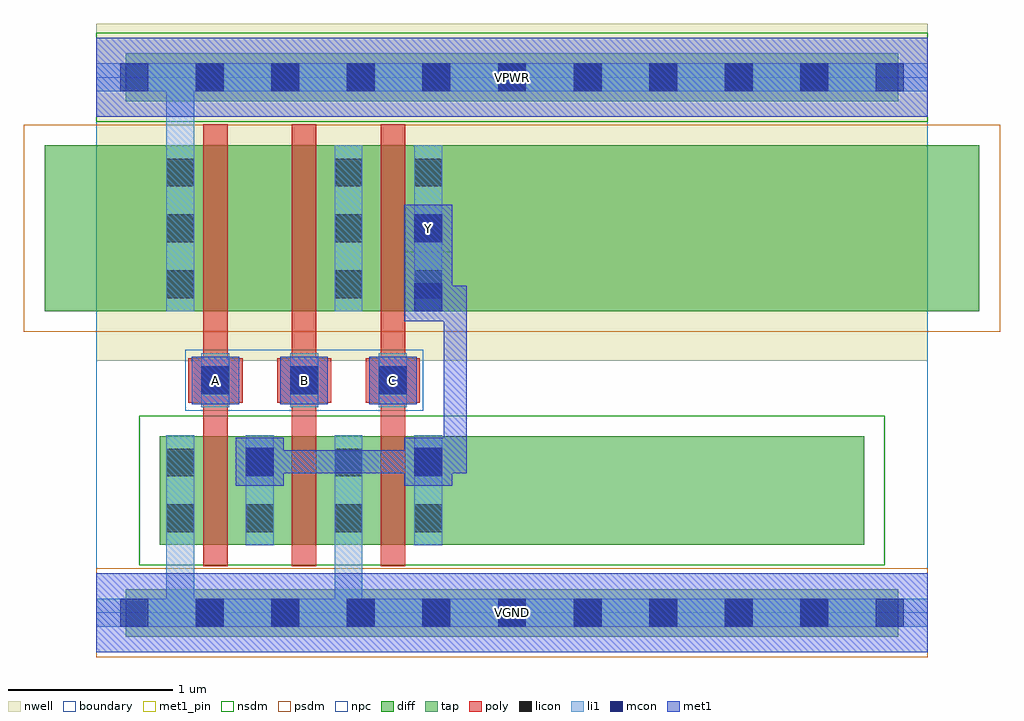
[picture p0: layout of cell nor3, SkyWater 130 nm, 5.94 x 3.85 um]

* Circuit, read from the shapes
.subckt nor3 A B C VGND VPWR Y
XM1 Y A VGND VGND sky130_fd_pr__nfet_01v8 w=0.66 l=0.15
XM2 VGND B Y VGND sky130_fd_pr__nfet_01v8 w=0.66 l=0.15
XM3 Y C VGND VGND sky130_fd_pr__nfet_01v8 w=0.66 l=0.15
XM4 n1 A VPWR VPWR sky130_fd_pr__pfet_01v8 w=1.01 l=0.15
XM5 n2 B n1 VPWR sky130_fd_pr__pfet_01v8 w=1.01 l=0.15
XM6 Y C n2 VPWR sky130_fd_pr__pfet_01v8 w=1.01 l=0.15
.ends

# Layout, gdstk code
import gdstk
lib = gdstk.Library(unit=1e-6, precision=1e-09)
def R(c, l, rs):  # rectangles x0, y0, x1, y1
    for r in rs: c.add(gdstk.rectangle(r[:2], r[2:], *l))
def A(c, l, x, y, w, h, nx, ny, dx, dy):  # array of equal rectangles
    R(c, l, [(x+i*dx, y+j*dy, x+i*dx+w, y+j*dy+h) for i in range(nx) for j in range(ny)])
nwell = (64, 20)
diff = (65, 20)
tap = (65, 44)
poly = (66, 20)
licon = (66, 44)
li1 = (67, 20)
mcon = (67, 44)
met1_pin = (68, 16)
met1 = (68, 20)
nsdm = (93, 44)
psdm = (94, 20)
npc = (95, 20)
boundary = (235, 4)

nor3 = lib.new_cell('nor3')
R(nor3, nwell, [(0,1.535,5.06,3.585)])
R(nor3, diff, [(0.385,0.415,4.675,1.075), (-0.315,1.835,5.375,2.845)])
R(nor3, tap, [(0.18,-0.145,4.88,0.145), (0.18,3.115,4.88,3.405)])
A(nor3, poly, 0.65, 0.285, 0.15, 2.69, 3, 1, 0.54, 0)
A(nor3, poly, 0.56, 1.28, 0.33, 0.27, 3, 1, 0.54, 0)
A(nor3, licon, 0.605, -0.085, 0.17, 0.17, 9, 2, 0.46, 3.26)
A(nor3, licon, 0.64, 1.33, 0.17, 0.17, 3, 1, 0.54, 0)
A(nor3, licon, 0.425, 1.915, 0.17, 0.17, 1, 3, 0, 0.34)
A(nor3, licon, 1.45, 1.915, 0.17, 0.17, 1, 3, 0, 0.34)
A(nor3, licon, 1.935, 1.915, 0.17, 0.17, 1, 3, 0, 0.34)
R(nor3, licon, [(0.425,0.49,0.595,0.66), (0.91,0.49,1.08,0.66), (1.45,0.49,1.62,0.66), (1.935,0.49,2.105,0.66), (0.425,0.83,0.595,1), (0.91,0.83,1.08,1), (1.45,0.83,1.62,1), (1.935,0.83,2.105,1)])
A(nor3, li1, 0.64, 1.25, 0.17, 0.33, 3, 1, 0.54, 0)
R(nor3, li1, [(0,-0.085,5.06,0.085), (0.425,-0.085,0.595,1.08), (1.45,-0.085,1.62,1.08), (0.425,0.41,0.595,1.08), (0.91,0.41,1.08,1.08), (1.45,0.41,1.62,1.08), (1.935,0.41,2.105,1.08), (0.425,1.835,0.595,2.845), (0.425,1.835,0.595,3.345), (1.45,1.835,1.62,2.845), (1.935,1.835,2.105,2.845), (0,3.175,5.06,3.345)])
A(nor3, mcon, 0.145, -0.085, 0.17, 0.17, 11, 2, 0.46, 3.26)
A(nor3, mcon, 0.64, 1.33, 0.17, 0.17, 3, 1, 0.54, 0)
R(nor3, mcon, [(0.91,0.835,1.08,1.005), (1.935,0.835,2.105,1.005), (1.935,1.835,2.105,2.005), (1.935,2.255,2.105,2.425)])
A(nor3, met1_pin, 0.58, 1.27, 0.29, 0.29, 3, 1, 0.54, 0)
R(nor3, met1_pin, [(0,-0.24,5.06,0.24), (1.875,2.195,2.165,2.485), (0,3.02,5.06,3.5)])
A(nor3, met1, 0.58, 1.27, 0.29, 0.29, 3, 1, 0.54, 0)
R(nor3, met1, [(0,-0.24,5.06,0.24), (0.85,0.775,1.14,1.065), (1.875,0.775,2.165,1.065), (0.925,0.85,1.22,0.99), (1.08,0.85,2.255,0.99), (1.95,0.85,2.255,0.99), (2.115,0.85,2.255,1.795), (2.115,1.655,2.255,1.99), (1.875,1.775,2.165,2.065), (1.95,1.85,2.255,1.99), (1.875,2.065,2.165,2.195), (1.875,2.195,2.165,2.485), (0,3.02,5.06,3.5)])
R(nor3, nsdm, [(0.26,0.29,4.8,1.2), (0,2.99,5.06,3.53)])
R(nor3, psdm, [(0,-0.27,5.06,0.27), (-0.44,1.71,5.5,2.97)])
R(nor3, npc, [(0.54,1.23,1.99,1.6)])
R(nor3, boundary, [(0,0,5.06,3.26)])
nor3.add(gdstk.Label('A', (0.725,1.415), layer=68, texttype=5))
nor3.add(gdstk.Label('B', (1.265,1.415), layer=68, texttype=5))
nor3.add(gdstk.Label('C', (1.805,1.415), layer=68, texttype=5))
nor3.add(gdstk.Label('Y', (2.02,2.34), layer=68, texttype=5))
nor3.add(gdstk.Label('VPWR', (2.53,3.26), layer=68, texttype=5))
nor3.add(gdstk.Label('VGND', (2.53,0), layer=68, texttype=5))
nor3.add(gdstk.Label('A', (0.725,1.415), layer=68, texttype=16))
nor3.add(gdstk.Label('B', (1.265,1.415), layer=68, texttype=16))
nor3.add(gdstk.Label('C', (1.805,1.415), layer=68, texttype=16))
nor3.add(gdstk.Label('Y', (2.02,2.34), layer=68, texttype=16))
nor3.add(gdstk.Label('VPWR', (2.53,3.26), layer=68, texttype=16))
nor3.add(gdstk.Label('VGND', (2.53,0), layer=68, texttype=16))

lib.write_gds('nor3.gds')
